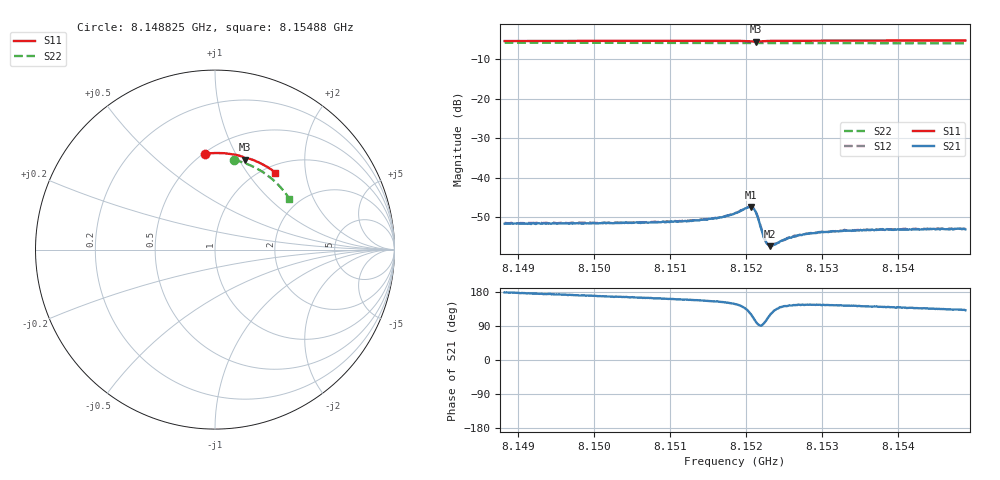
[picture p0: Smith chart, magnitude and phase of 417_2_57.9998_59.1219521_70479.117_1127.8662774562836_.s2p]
#  HZ  S  RI  R  50.00
! Rohde & Schwarz Vector Network Analyzer
! Rohde-Schwarz,ZNB20-2Port,1311601062101988,3.16
! Created: UTC 3/21/2024, 1:08:59 AM
! freq[Hz]  re:S11  im:S11  re:S21  im:S21  re:S12  im:S12  re:S22  im:S22
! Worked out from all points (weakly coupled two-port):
!   401 points, 8.148825 GHz to 8.15488 GHz, reference 50 ohm
!   highest |S21| = -47.42 dB at 8.152064 GHz (marker M1); lowest = -57.4 dB at 8.152306 GHz (marker M2)
!   lowest |S11| = -5.5 dB at 8.152125 GHz (marker M3), VSWR 3.24, Z = 38 + j52.9 ohm
!   |S11| at or under -10 dB: nowhere
!   |S22| runs from -6.0 to -5.8 dB; largest |S21 - S12| = 0.00011
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8.1488246e9  -0.0561 0.5336  -0.00261 7.74e-05  -0.00265 0.000134  0.106 0.5
8.1498389e9  0.0143 0.5382  -0.00258 0.000432  -0.00265 0.000492  0.1688 0.4812
8.1508531e9  0.085 0.5332  -0.00259 0.000835  -0.00265 0.000883  0.2281 0.4544
8.1515343e9  0.1324 0.5241  -0.00274 0.00124  -0.00273 0.00129  0.2655 0.4323
8.1517009e9  0.1445 0.5208  -0.00284 0.00146  -0.0028 0.00153  0.2745 0.4264
8.1518522e9  0.1558 0.5167  -0.00298 0.00189  -0.00297 0.00193  0.2824 0.421
8.1520036e9  0.1664 0.5087  -0.00285 0.00299  -0.00282 0.00305  0.2901 0.4151
8.1520642e9  0.1677 0.5037  -0.00213 0.00368  -0.00207 0.00372  0.2932 0.4127
8.1520944e9  0.1667 0.5019  -0.00144 0.00383  -0.0014 0.00385  0.2946 0.4114
8.1521247e9  0.1651 0.5016  -0.00073 0.0036  -0.000676 0.00363  0.2961 0.4104
8.152155e9  0.1641 0.5031  -0.000225 0.00306  -0.000188 0.0031  0.2974 0.4093
8.1522156e9  0.1666 0.5069  -0.000117 0.00196  -8.51e-05 0.00196  0.3005 0.4073
8.1522458e9  0.1688 0.5082  -0.000284 0.00161  -0.00023 0.00164  0.302 0.4061
8.1522761e9  0.1715 0.5089  -0.000467 0.00137  -0.000441 0.00137  0.3035 0.405
8.1523064e9  0.1743 0.5092  -0.000615 0.00121  -0.000656 0.00124  0.3051 0.4039
8.1523669e9  0.1794 0.5088  -0.000928 0.00108  -0.000908 0.00113  0.3082 0.4015
8.1524729e9  0.1879 0.5073  -0.00124 0.00102  -0.00122 0.00104  0.3135 0.3971
8.1526091e9  0.1978 0.5045  -0.00145 0.00105  -0.00144 0.00104  0.32 0.3915
8.1528665e9  0.2155 0.4981  -0.00163 0.00111  -0.00161 0.00114  0.3324 0.3807
8.1533206e9  0.2447 0.4853  -0.00172 0.00126  -0.00172 0.0013  0.3528 0.3607
8.1538808e9  0.2794 0.4673  -0.00168 0.00142  -0.00167 0.00145  0.3765 0.3347
8.1548799e9  0.3369 0.4293  -0.00146 0.00166  -0.00151 0.00167  0.4137 0.2844
